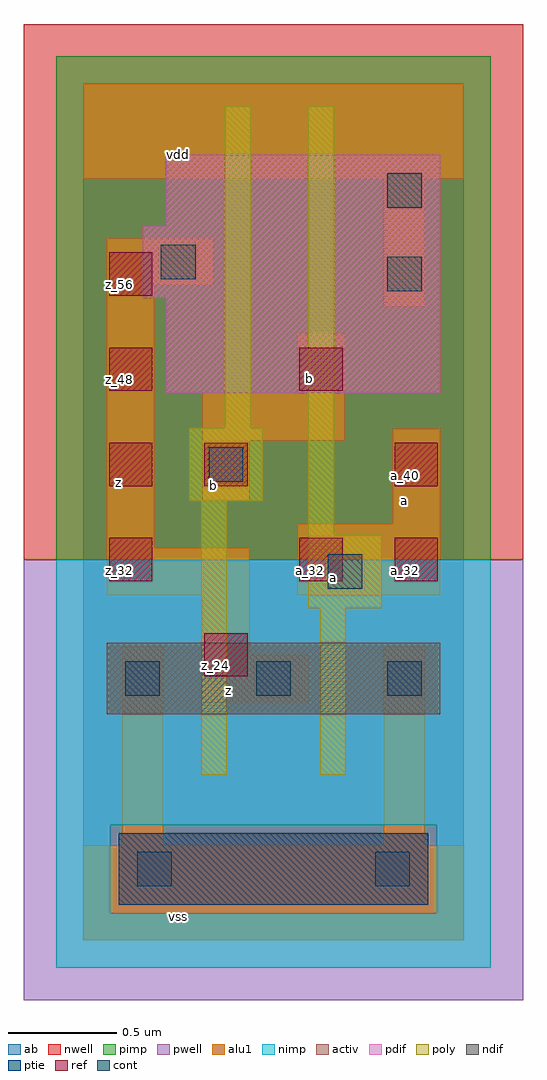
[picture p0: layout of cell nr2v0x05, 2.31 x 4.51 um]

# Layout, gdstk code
import gdstk
lib = gdstk.Library(unit=1e-6, precision=2.5e-09)
def R(c, l, rs):  # rectangles x0, y0, x1, y1
    for r in rs: c.add(gdstk.rectangle(r[:2], r[2:], *l))
def A(c, l, x, y, w, h, nx, ny, dx, dy):  # array of equal rectangles
    R(c, l, [(x+i*dx, y+j*dy, x+i*dx+w, y+j*dy+h) for i in range(nx) for j in range(ny)])
ndif = (3, 0)
pdif = (4, 0)
ptie = (6, 0)
ref = (24, 0)
cont = (25, 0)
pwell = (41, 0)
nwell = (42, 0)
activ = (43, 0)
pimp = (44, 0)
nimp = (45, 0)
poly = (46, 0)
alu1 = (49, 0)
ab = (63, 0)

nr2v0x05 = lib.new_cell('nr2v0x05')
R(nr2v0x05, ndif, [(0.11,1.045,1.65,1.375)])
R(nr2v0x05, pdif, [(0.385,2.53,1.65,2.97), (0.275,2.97,1.65,3.3), (0.385,3.3,1.65,3.63)])
R(nr2v0x05, ptie, [(0.165,0.165,1.595,0.495)])
A(nr2v0x05, ref, 0.12, 1.66, 0.2, 0.2, 1, 4, 0, 0.44)
R(nr2v0x05, ref, [(0.56,1.22,0.76,1.42), (1,1.66,1.2,1.86), (1.44,1.66,1.64,1.86), (0.56,2.1,0.76,2.3), (1.44,2.1,1.64,2.3), (1,2.54,1.2,2.74)])
A(nr2v0x05, cont, 0.195, 1.13, 0.16, 0.16, 3, 1, 0.605, 0)
R(nr2v0x05, cont, [(0.25,0.25,0.41,0.41), (1.35,0.25,1.51,0.41), (1.13,1.625,1.29,1.785), (0.58,2.12,0.74,2.28), (1.405,3,1.565,3.16), (0.36,3.055,0.52,3.215), (1.405,3.385,1.565,3.545)])
R(nr2v0x05, pwell, [(-0.275,-0.275,2.035,1.76)])
R(nr2v0x05, nwell, [(-0.275,1.76,2.035,4.235)])
R(nr2v0x05, activ, [(0.165,0.165,1.595,0.495), (0.11,1.045,1.65,1.375), (0.385,2.53,1.65,2.97), (0.275,2.97,1.65,3.3), (0.385,3.3,1.65,3.63)])
R(nr2v0x05, pimp, [(0.125,0.125,1.635,0.535), (-0.125,1.76,1.885,4.085)])
R(nr2v0x05, nimp, [(-0.125,-0.125,1.885,0.125), (-0.125,0.125,0.125,0.535), (1.635,0.125,1.885,0.535), (-0.125,0.535,1.885,1.76)])
R(nr2v0x05, poly, [(0.545,0.765,0.665,2.03), (1.095,0.765,1.215,1.535), (1.04,1.535,1.38,1.875), (1.04,1.875,1.16,3.855), (0.49,2.03,0.83,2.37), (0.655,2.37,0.775,3.855)])
R(nr2v0x05, alu1, [(0,0,1.76,0.44), (0.18,0.44,0.37,1.36), (1.39,0.44,1.58,1.36), (0.55,1.1,1.045,1.32), (0.55,1.32,0.77,1.595), (0.11,1.595,0.77,1.815), (0.99,1.595,1.65,1.925), (0.11,1.815,0.33,3.025), (1.43,1.925,1.65,2.365), (0.55,2.035,0.77,2.31), (0.55,2.31,1.21,2.53), (0.99,2.53,1.21,2.805), (1.39,2.93,1.58,3.52), (0.11,3.025,0.605,3.245), (0,3.52,1.76,3.96)])
R(nr2v0x05, ab, [(0,0,1.76,3.96)])
nr2v0x05.add(gdstk.Label('vss', (0.44,0.11), layer=49, texttype=0))
nr2v0x05.add(gdstk.Label('z', (0.6725,1.155), layer=49, texttype=0))
nr2v0x05.add(gdstk.Label('a', (1.155,1.6775), layer=49, texttype=0))
nr2v0x05.add(gdstk.Label('a', (1.485,2.035), layer=49, texttype=0))
nr2v0x05.add(gdstk.Label('b', (0.605,2.1025), layer=49, texttype=0))
nr2v0x05.add(gdstk.Label('b', (1.045,2.5975), layer=49, texttype=0))
nr2v0x05.add(gdstk.Label('z', (0.165,2.1175), layer=49, texttype=0))
nr2v0x05.add(gdstk.Label('vdd', (0.44,3.63), layer=49, texttype=0))
nr2v0x05.add(gdstk.Label('z_56', (0.17,3.03), layer=24, texttype=0))
nr2v0x05.add(gdstk.Label('z_48', (0.17,2.59), layer=24, texttype=0))
nr2v0x05.add(gdstk.Label('z_40', (0.17,2.15), layer=24, texttype=0))
nr2v0x05.add(gdstk.Label('z_32', (0.17,1.71), layer=24, texttype=0))
nr2v0x05.add(gdstk.Label('a_40', (1.49,2.15), layer=24, texttype=0))
nr2v0x05.add(gdstk.Label('a_32', (1.49,1.71), layer=24, texttype=0))
nr2v0x05.add(gdstk.Label('b_48', (1.05,2.59), layer=24, texttype=0))
nr2v0x05.add(gdstk.Label('a_32', (1.05,1.71), layer=24, texttype=0))
nr2v0x05.add(gdstk.Label('b_40', (0.61,2.15), layer=24, texttype=0))
nr2v0x05.add(gdstk.Label('z_24', (0.61,1.27), layer=24, texttype=0))

lib.write_gds('nr2v0x05.gds')
